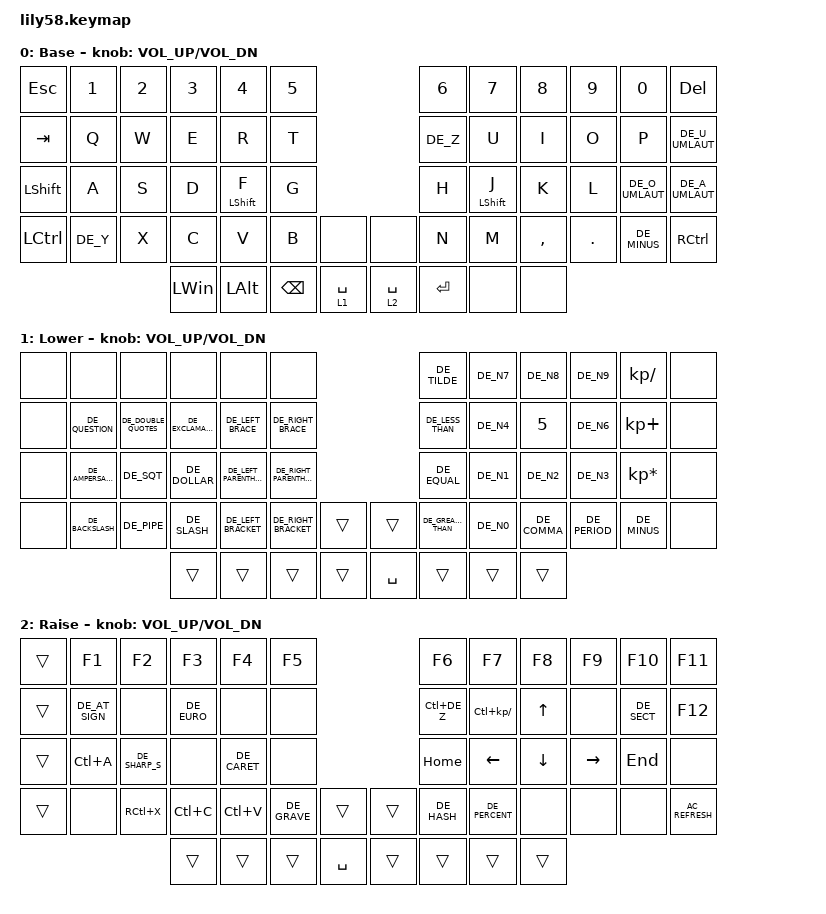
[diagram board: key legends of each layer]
/*
 * Copyright (c) 2020 The ZMK Contributors
 *
 * SPDX-License-Identifier: MIT
 */

#include <behaviors.dtsi>
#include <dt-bindings/zmk/keys.h>
#include "keys_de.h"

/ {
    behaviors {
        longPress: longPress {
            compatible = "zmk,behavior-hold-tap";
            label = "LONGPRESS";
            bindings = <&kp>, <&kp>;

            #binding-cells = <2>;
            tapping-term-ms = <350>;
            flavor = "tap-preferred";
        };
    };

    keymap {
        compatible = "zmk,keymap";

        Custom-Quertz {
            // ------------------------------------------------------------------------------------------------------------
            // |  ESC  |  1  |  2  |  3   |  4   |  5   |                   |  6   |  7    |  8    |  9   |   0   |   `   |
            // |  TAB  |  Q  |  W  |  E   |  R   |  T   |                   |  Y   |  U    |  I    |  O   |   P   |   -   |
            // |  CTRL |  A  |  S  |  D   |  F   |  G   |                   |  H   |  J    |  K    |  L   |   ;   |   '   |
            // | SHIFT |  Z  |  X  |  C   |  V   |  B   |   "["  |  |  "]"  |  N   |  M    |  ,    |  .   |   /   | SHIFT |
            //                     | ALT  | GUI  | LOWER|  SPACE |  | ENTER | RAISE| BSPC  | GUI   |

            display-name = "Base";
            bindings = <
&kp ESC           &kp N1    &kp N2  &kp N3        &kp N4                   &kp N5                                     &kp N6     &kp N7                   &kp N8     &kp N9   &kp N0           &kp DEL
&kp TAB           &kp Q     &kp W   &kp E         &kp R                    &kp T                                      &kp DE_Z   &kp U                    &kp I      &kp O    &kp P            &kp DE_U_UMLAUT
&kp LEFT_SHIFT    &kp A     &kp S   &kp D         &longPress LEFT_SHIFT F  &kp G                                      &kp H      &longPress LEFT_SHIFT J  &kp K      &kp L    &kp DE_O_UMLAUT  &kp DE_A_UMLAUT
&kp LEFT_CONTROL  &kp DE_Y  &kp X   &kp C         &kp V                    &kp B          &none          &none        &kp N      &kp M                    &kp COMMA  &kp DOT  &kp DE_MINUS     &kp RIGHT_CONTROL
                                    &kp LEFT_WIN  &kp LEFT_ALT             &kp BACKSPACE  &lt 1 SPACE    &lt 2 SPACE  &kp ENTER  &none                    &none
            >;

            sensor-bindings = <&inc_dec_kp C_VOL_UP C_VOL_DN>;
        };

        Sym+Num {
            // ------------------------------------------------------------------------------------------------------------
            // | BTCLR | BT1 | BT2 |  BT3 |  BT4 |  BT5 |                   |      |       |       |      |       |       |
            // |  F1   |  F2 |  F3 |  F4  |  F5  |  F6  |                   |  F7  |  F8   |  F9   |  F10 |  F11  |  F12  |
            // |   `   |  !  |  @  |  #   |  $   |  %   |                   |  ^   |  &    |  *    |  (   |   )   |   ~   |
            // |       |     |     |      |      |      |        |  |       |      |  _    |  +    |  {   |   }   |  "|"  |
            //                     |      |      |      |        |  |       |      |       |       |

            display-name = "Lower";
            bindings = <
&none  &none             &none                 &none               &none                    &none                                          &kp DE_TILDE         &kp DE_N7  &kp DE_N8     &kp DE_N9      &kp KP_DIVIDE    &none
&none  &kp DE_QUESTION   &kp DE_DOUBLE_QUOTES  &kp DE_EXCLAMATION  &kp DE_LEFT_BRACE        &kp DE_RIGHT_BRACE                             &kp DE_LESS_THAN     &kp DE_N4  &kp N5        &kp DE_N6      &kp KP_PLUS      &none
&none  &kp DE_AMPERSAND  &kp DE_SQT            &kp DE_DOLLAR       &kp DE_LEFT_PARENTHESIS  &kp DE_RIGHT_PARENTHESIS                       &kp DE_EQUAL         &kp DE_N1  &kp DE_N2     &kp DE_N3      &kp KP_MULTIPLY  &none
&none  &kp DE_BACKSLASH  &kp DE_PIPE           &kp DE_SLASH        &kp DE_LEFT_BRACKET      &kp DE_RIGHT_BRACKET      &trans    &trans     &kp DE_GREATER_THAN  &kp DE_N0  &kp DE_COMMA  &kp DE_PERIOD  &kp DE_MINUS     &none
                                               &trans              &trans                   &trans                    &trans    &kp SPACE  &trans               &trans     &trans
            >;

            sensor-bindings = <&inc_dec_kp C_VOL_UP C_VOL_DN>;
        };

        Brd+Sys {
            // ------------------------------------------------------------------------------------------------------------
            // |       |     |     |      |      |      |                   |      |       |       |      |       |       |
            // |   `   |  1  |  2  |  3   |  4   |  5   |                   |  6   |   7   |   8   |  9   |   0   |       |
            // |   F1  |  F2 |  F3 |  F4  |  F5  |  F6  |                   |      |   <-  |   v   |  ^   |  ->   |       |
            // |   F7  |  F8 |  F9 |  F10 |  F11 |  F12 |        |  |       |  +   |   -   |   =   |  [   |   ]   |   \   |
            //                     |      |      |      |        |  |       |      |       |       |

            display-name = "Raise";
            bindings = <
&trans  &kp F1          &kp F2          &kp F3       &kp F4        &kp F5                             &kp F6        &kp F7             &kp F8        &kp F9           &kp F10      &kp F11
&trans  &kp DE_AT_SIGN  &none           &kp DE_EURO  &none         &none                              &kp LC(DE_Z)  &kp LC(KP_DIVIDE)  &kp UP_ARROW  &none            &kp DE_SECT  &kp F12
&trans  &kp LC(A)       &kp DE_SHARP_S  &none        &kp DE_CARET  &none                              &kp HOME      &kp LEFT           &kp DOWN      &kp RIGHT_ARROW  &kp END      &none
&trans  &none           &kp RC(X)       &kp LC(C)    &kp LC(V)     &kp DE_GRAVE  &trans       &trans  &kp DE_HASH   &kp DE_PERCENT     &none         &none            &none        &kp C_AC_REFRESH
                                        &trans       &trans        &trans        &kp SPACE    &trans  &trans        &trans             &trans
            >;

            sensor-bindings = <&inc_dec_kp C_VOL_UP C_VOL_DN>;
        };

        extra_1 { status = "reserved"; };

        extra_2 { status = "reserved"; };

        extra_3 { status = "reserved"; };
    };
};
